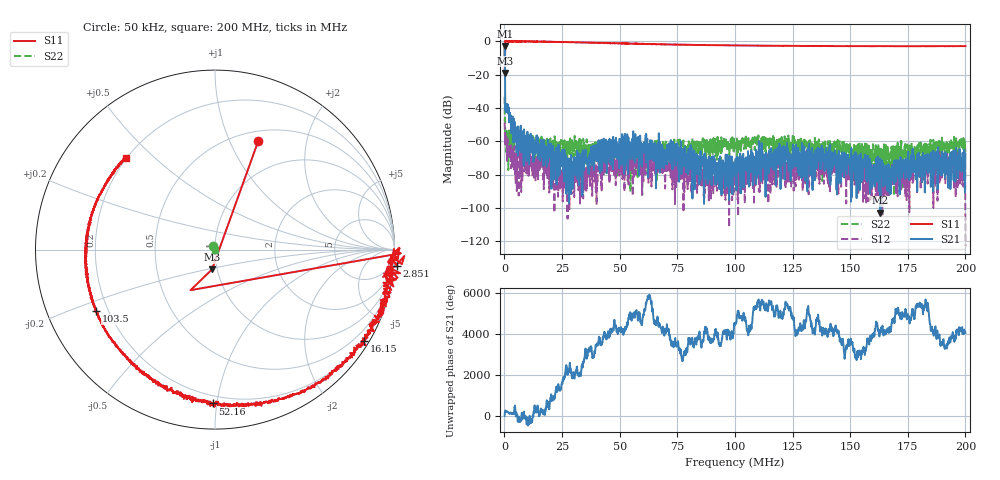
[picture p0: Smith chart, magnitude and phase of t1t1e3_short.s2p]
! 12-May-26 12:28:13 PM
! E:\REC_VNA_20260512\T1T1E3_SHORT.S2P
! CHANNEL.1
! TR.MEASUREMENT
! CORRECTED.DATA
# GHZ S RI R 50.0
! FREQ.GHZ  S11RE  S11IM  S21RE  S21IM  S12RE  S12IM  S22RE  S22IM
!; PortSelection: Port_12
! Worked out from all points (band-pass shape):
!   2000 points, 50 kHz to 200 MHz, reference 50 ohm
!   highest |S21| = -2.77 dB at 150 kHz (marker M1); lowest = -103.0 dB at 163.1 MHz (marker M2)
!   |S21| within 3 dB of the highest: 104.5 kHz to 169.5 kHz (64.98 kHz wide, 47.4 % of centre)
!   lowest |S11| = -19.0 dB at 150 kHz (marker M3), VSWR 1.25, Z = 47.2 - j10.6 ohm
!   |S11| at or under -10 dB: 91.11 kHz to 263.2 kHz (172.1 kHz wide, 97.2 % of centre)
!   |S22| runs from -92.6 to -33.5 dB; largest |S21 - S12| = 0.73
!   S11 on the Smith chart (normalised r, x): 50 kHz: 0.61, +1.29; 2.851 MHz: -5, -21; 16.15 MHz: 0.16, -3.53; 52.16 MHz: 0.15, -0.97; 103.5 MHz: 0.16, -0.24; 200 MHz: 0.20, +0.41
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5e-05  0.2414 0.606  0.3397 0.0219  0.00275 0.00242  -0.0121 0.0173
0.000150025  -0.0169 -0.1108  -0.6723 0.2762  0.00218 0.00122  -0.0023 -0.00329
0.001350325  0.984 -0.0775  -0.00717 -0.00116  -0.000182 -0.000352  0.000504 -0.000869
0.0028507  1.016 -0.0918  -0.00174 9e-05  0.000146 5.06e-05  0.000848 0.00053
0.009652401  0.9233 -0.3087  0.000174 -0.000183  -0.000305 -0.000108  0.000583 0.00035
0.01615403  0.8325 -0.5114  -0.000166 -0.000941  0.000159 7.65e-05  0.000256 0.000119
0.02785695  0.5799 -0.7406  -0.000112 0.000171  -2.81e-05 6.23e-05  0.00092 0.00054
0.03345835  0.4383 -0.806  -0.000169 -0.000255  2.47e-05 -6.14e-05  0.000661 0.000234
0.04586146  0.1281 -0.8593  -0.000379 0.000325  -4.51e-05 -0.000131  -4.81e-05 0.000329
0.05216303  -0.0122 -0.8571  -0.00163 -0.000255  0.000391 -0.000115  0.0004 0.000314
0.05636408  -0.1151 -0.8351  0.000897 0.00054  -0.000224 -0.000373  0.000315 -0.000137
0.06676668  -0.299 -0.7607  -0.000518 0.000488  4.62e-05 -0.00025  0.00054 5.87e-05
0.100075  -0.6476 -0.3827  -7.61e-05 0.000104  0.000106 3.23e-05  0.000552 0.000506
0.1034759  -0.6615 -0.3408  -0.000109 5.48e-05  3.2e-05 -8.4e-06  0.000788 0.000338
0.1217804  -0.7209 -0.132  0.000354 -0.000157  3.97e-05 -2.53e-05  8.74e-05 0.000506
0.123981  -0.7126 -0.1091  1.21e-05 -0.000403  -3.53e-05 0.000215  0.000238 0.000639
0.1260815  -0.7145 -0.0817  -0.000374 -7.7e-05  -0.000276 -0.000123  0.00013 0.000932
0.1333833  -0.7182 -0.00525  0.000625 -7.02e-05  4.34e-05 -1.72e-05  -0.000187 0.00084
0.1630908  -0.6606 0.267  -1.7e-06 -6.9e-06  5.48e-05 -4.92e-05  -0.000554 0.000206
0.1666917  -0.6498 0.2942  -0.000101 2.29e-05  -7.62e-05 -0.000124  -0.00039 -0.000114
0.1939985  -0.5303 0.4806  -0.000126 -0.000355  7.6e-06 -0.000176  0.000497 -0.000521
0.2  -0.4985 0.5111  -6.32e-05 0.000417  -1e-07 -7e-07  0.000469 -5.33e-05
